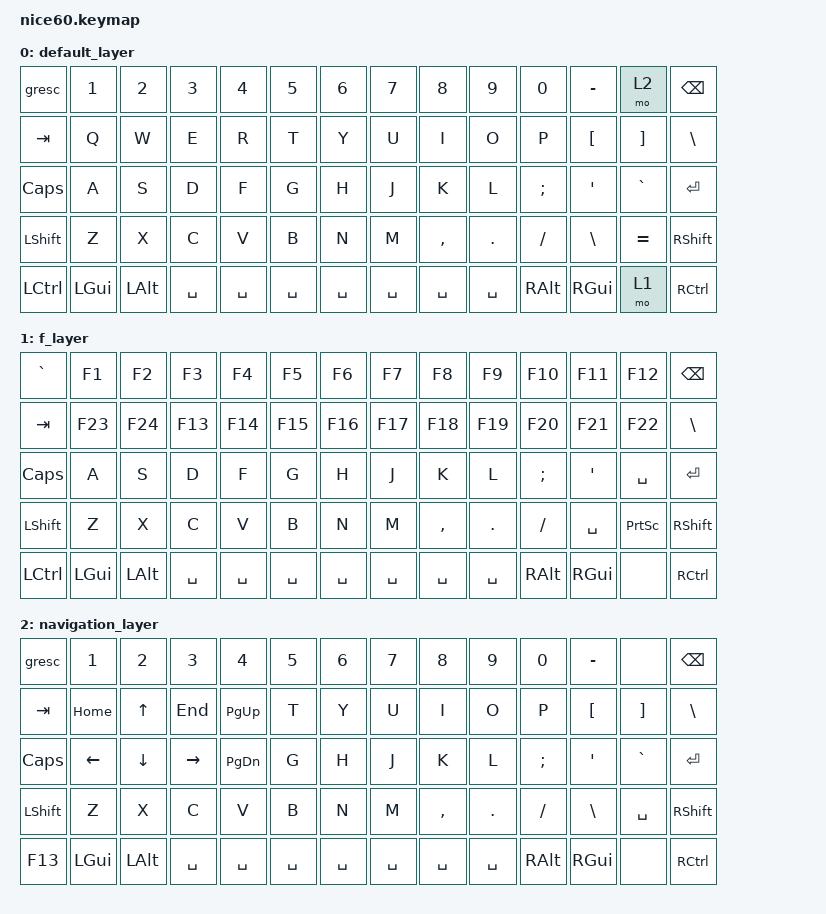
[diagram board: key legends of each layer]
#include <behaviors.dtsi>
#include <dt-bindings/zmk/keys.h>
//#include <dt-bindings/zmk/rgb.h>
#include <dt-bindings/zmk/bt.h>

/ {
	keymap {
		compatible = "zmk,keymap";

		default_layer {
//  --------------------------------------------------------------------------------------------------------------------------------
// |  ESC    |    1   |    2   |    3   |    4   |    5   |    6   |    7   |    8   |    9   |    0   |    -   |  MO(2) |    BKSP  |
// |  TAB    |    Q   |    W   |    E   |    R   |    T   |    Y   |    U   |    I   |    O   |    P   |    [   |    ]   |    "|"   |
// |  CAPS   |    A   |    S   |    D   |    F   |    G   |    H   |    J   |    K   |    L   |    ;   |    '   |  GRAVE |   ENTER  |
// | SHIFT   |    Z   |    X   |    C   |    V   |    B   |    N   |    M   |    ,   |    .   |    /   |    \   |   =    |   SHIFT  |
// |   CTL   |   WIN  |   ALT  |        |        |        |        |        |        |        |   ALT  |   WIN  |  MO(1) |   CTL    |
//  --------------------------------------------------------------------------------------------------------------------------------
			bindings = <
	&gresc    &kp N1   &kp N2   &kp N3    &kp N4    &kp N5    &kp N6    &kp N7    &kp N8    &kp N9    &kp N0   &kp MINUS &mo 2     &kp BSPC
	&kp TAB   &kp Q    &kp W    &kp E     &kp R     &kp T     &kp Y     &kp U     &kp I     &kp O     &kp P    &kp LBKT  &kp RBKT  &kp BSLH
	&kp CLCK  &kp A    &kp S    &kp D     &kp F     &kp G     &kp H     &kp J     &kp K     &kp L     &kp SEMI &kp SQT   &kp GRAVE &kp RET
	&kp LSHFT &kp Z    &kp X    &kp C     &kp V     &kp B     &kp N     &kp M     &kp COMMA &kp DOT   &kp FSLH &kp BSLH  &kp EQUAL &kp RSHFT
	&kp LCTRL &kp LGUI &kp LALT &kp SPACE &kp SPACE &kp SPACE &kp SPACE &kp SPACE &kp SPACE &kp SPACE &kp RALT &kp RGUI  &mo 1     &kp RCTRL
			>;
		};

f_layer {
//  --------------------------------------------------------------------------------------------------------------------------------
// |     ~   |   F1   |   F2   |   F3   |   F4   |   F5   |   F6   |   F7   |   F8   |   F9   |   F10  |   F11  |   F12  |    BKSP  |
// |  TAB    |   F23  |   F24  |   F13  |   F14  |   F15  |   F16  |   F17  |   F18  |   F19  |   F20  |   F21  |   F22  |    "|"   |
// |  CAPS   |    A   |    S   |    D   |    F   |    G   |    H   |    J   |    K   |    L   |    ;   |    '   |        |   ENTER  |
// | SHIFT   |    Z   |    X   |    C   |    V   |    B   |    N   |    M   |    ,   |    .   |    /   |        | PSCRN  |   SHIFT  |
// |   CTL   |   WIN  |   ALT  |        |        |        |        |        |        |        |   ALT  |   WIN  |        |   CTL    |
//  --------------------------------------------------------------------------------------------------------------------------------
			bindings = <
	&kp GRAVE &kp F1   &kp F2   &kp F3    &kp F4    &kp F5    &kp F6    &kp F7    &kp F8    &kp F9    &kp F10  &kp F11   &kp F12   &kp BSPC
	&kp TAB   &kp F23  &kp F24  &kp F13   &kp F14   &kp F15   &kp F16   &kp F17   &kp F18   &kp F19   &kp F20  &kp F21   &kp F22   &kp BSLH
	&kp CLCK  &kp A    &kp S    &kp D     &kp F     &kp G     &kp H     &kp J     &kp K     &kp L     &kp SEMI &kp SQT   &kp SPACE &kp RET
	&kp LSHFT &kp Z    &kp X    &kp C     &kp V     &kp B     &kp N     &kp M     &kp COMMA &kp DOT   &kp FSLH &kp SPACE &kp PSCRN &kp RSHFT
	&kp LCTRL &kp LGUI &kp LALT &kp SPACE &kp SPACE &kp SPACE &kp SPACE &kp SPACE &kp SPACE &kp SPACE &kp RALT &kp RGUI  &none     &kp RCTRL
			>;
		};

		navigation_layer {
//  --------------------------------------------------------------------------------------------------------------------------------
// |  ESC    |    1   |    2   |    3   |    4   |    5   |    6   |    7   |    8   |    9   |    0   |    -   |  none  |    BKSP  |
// |  TAB    |  HOME  |   UP   |   END  |  PG_UP |    T   |    Y   |    U   |    I   |    O   |    P   |    [   |    ]   |    "|"   |
// |  CAPS   |   LEFT |  DOWN  |  RIGHT |    F   |    G   |    H   |    J   |    K   |    L   |    ;   |    '   |  GRAVE |   ENTER  |
// | SHIFT   |    Z   |    X   |    C   |    V   |    B   |    N   |    M   |    ,   |    .   |    /   |    \   |        |   SHIFT  |
// |   F13   |   WIN  |   ALT  |        |        |        |        |        |        |        |   ALT  |   WIN  |  MO(1) |   CTL    |
//  --------------------------------------------------------------------------------------------------------------------------------
			bindings = <
	&gresc    &kp N1   &kp N2   &kp N3    &kp N4    &kp N5    &kp N6    &kp N7    &kp N8    &kp N9    &kp N0   &kp MINUS &none     &kp BSPC
	&kp TAB   &kp HOME &kp UP   &kp END   &kp PG_UP &kp T     &kp Y     &kp U     &kp I     &kp O     &kp P    &kp LBKT  &kp RBKT  &kp BSLH
	&kp CLCK  &kp LEFT &kp DOWN &kp RIGHT &kp PG_DN &kp G     &kp H     &kp J     &kp K     &kp L     &kp SEMI &kp SQT   &kp GRAVE &kp RET
	&kp LSHFT &kp Z    &kp X    &kp C     &kp V     &kp B     &kp N     &kp M     &kp COMMA &kp DOT   &kp FSLH &kp BSLH  &kp SPACE &kp RSHFT
	&kp F13   &kp LGUI &kp LALT &kp SPACE &kp SPACE &kp SPACE &kp SPACE &kp SPACE &kp SPACE &kp SPACE &kp RALT &kp RGUI  &none     &kp RCTRL
			>;
		};

	};
};
